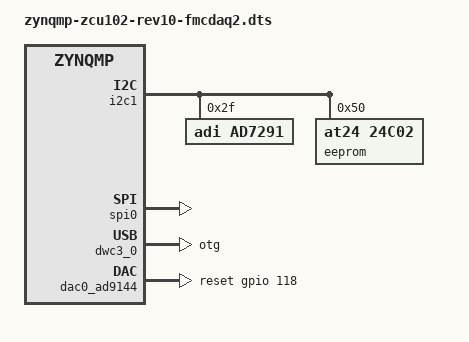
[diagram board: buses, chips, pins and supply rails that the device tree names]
// SPDX-License-Identifier: GPL-2.0
/*
 * Analog Devices AD-FMCDAQ2-EBZ
 * Link: https://wiki.analog.com/resources/eval/user-guides/ad-fmcdaq2-ebz
 *
 * hdl_project: <daq2/zcu102>
 * board_revision: <>
 *
 * Copyright 2016-2020 Analog Devices Inc.
 */

#include "zynqmp-zcu102-rev1.0.dts"
#include <dt-bindings/interrupt-controller/irq.h>
#include <dt-bindings/jesd204/adxcvr.h>

&i2c1 {
	i2c-mux@75 {
		i2c@0 {
			#address-cells = <1>;
			#size-cells = <0>;
			reg = <0>;
			/* HPC0_IIC */
			ad7291@2f {
				compatible = "adi,ad7291";
				reg = <0x2f>;
			};

			eeprom@50 {
				compatible = "at24,24c02";
				reg = <0x50>;
			};

		};
	};
};

/ {
	fpga_axi: fpga-axi@0 {
		interrupt-parent = <&gic>;
		compatible = "simple-bus";
		#address-cells = <0x1>;
		#size-cells = <0x1>;
		ranges = <0 0 0 0xffffffff>;

		rx_dma: dma@9c400000 {
			compatible = "adi,axi-dmac-1.00.a";
			reg = <0x9c400000 0x10000>;
			#dma-cells = <1>;
			#clock-cells = <0>;
			interrupts = <0 109 IRQ_TYPE_LEVEL_HIGH>;
			clocks = <&zynqmp_clk 71>;

			adi,channels {
				#size-cells = <0>;
				#address-cells = <1>;

				dma-channel@0 {
					reg = <0>;
					adi,source-bus-width = <64>;
					adi,source-bus-type = <2>;
					adi,destination-bus-width = <64>;
					adi,destination-bus-type = <0>;
				};
			};
		};

		tx_dma: dma@9c420000  {
			compatible = "adi,axi-dmac-1.00.a";
			reg = <0x9c420000 0x10000>;
			#dma-cells = <1>;
			#clock-cells = <0>;
			interrupts = <0 108 IRQ_TYPE_LEVEL_HIGH>;
			clocks = <&zynqmp_clk 71>;

			adi,channels {
				#size-cells = <0>;
				#address-cells = <1>;

				dma-channel@0 {
					reg = <0>;
					adi,source-bus-width = <128>;
					adi,source-bus-type = <0>;
					adi,destination-bus-width = <128>;
					adi,destination-bus-type = <2>;
				};
			};
		};

		axi_ad9144_core: axi-ad9144-hpc@84a04000{
			compatible = "adi,axi-ad9144-1.0";
			reg = <0x84a04000 0x10000>;
			dmas = <&tx_dma 0>;
			dma-names = "tx";
			spibus-connected = <&dac0_ad9144>;
			adi,axi-pl-fifo-enable;
		};

		axi_ad9144_jesd: axi-jesd204-tx@84a90000 {
			compatible = "adi,axi-jesd204-tx-1.0";
			reg = <0x84a90000 0x4000>;

			interrupts = <0 106 IRQ_TYPE_LEVEL_HIGH>;

			clocks = <&zynqmp_clk 71>, <&axi_ad9144_adxcvr 1>, <&axi_ad9144_adxcvr 0>;
			clock-names = "s_axi_aclk", "device_clk", "lane_clk";

			adi,octets-per-frame = <1>;
			adi,frames-per-multiframe = <32>;
			adi,converter-resolution = <16>;
			adi,bits-per-sample = <16>;
			adi,converters-per-device = <2>;

			#clock-cells = <0>;
			clock-output-names = "jesd_dac_lane_clk";
		};

		axi_ad9680_core: axi-ad9680-hpc@84a10000 {
			compatible = "adi,axi-ad9680-1.0";
			reg = <0x84a10000 0x10000>;
			dmas = <&rx_dma 0>;
			dma-names = "rx";
			spibus-connected = <&adc0_ad9680>;
		};

		axi_ad9680_jesd: axi-jesd204-rx@84aa0000 {
			compatible = "adi,axi-jesd204-rx-1.0";
			reg = <0x84aa0000 0x4000>;

			interrupts = <0 107 IRQ_TYPE_LEVEL_HIGH>;

			clocks = <&zynqmp_clk 71>, <&axi_ad9680_adxcvr 1>, <&axi_ad9680_adxcvr 0>;
			clock-names = "s_axi_aclk", "device_clk", "lane_clk";

			adi,octets-per-frame = <1>;
			adi,frames-per-multiframe = <32>;

			#clock-cells = <0>;
			clock-output-names = "jesd_adc_lane_clk";
		};

		axi_ad9680_adxcvr: axi-adxcvr-rx@84a50000{
			compatible = "adi,axi-adxcvr-1.0";
			reg = <0x84A50000 0x1000>;

			clocks = <&clk0_ad9523 4>;
			clock-names = "conv";

			#clock-cells = <1>;
			clock-output-names = "adc_gt_clk", "rx_out_clk";

			adi,sys-clk-select = <XCVR_CPLL>;
			adi,out-clk-select = <XCVR_REFCLK_DIV2>;
			adi,use-lpm-enable;
		};

		axi_ad9144_adxcvr: axi-adxcvr-tx@84a60000{
			compatible = "adi,axi-adxcvr-1.0";
			reg = <0x84A60000 0x1000>;

			clocks = <&clk0_ad9523 9>;
			clock-names = "conv";

			#clock-cells = <1>;
			clock-output-names = "dac_gt_clk", "tx_out_clk";

			adi,sys-clk-select = <XCVR_QPLL>;
			adi,out-clk-select = <XCVR_REFCLK_DIV2>;
			adi,use-lpm-enable;
		};

		axi_sysid_0: axi-sysid-0@85000000 {
			compatible = "adi,axi-sysid-1.00.a";
			reg = <0x85000000 0x10000>;
		};
	};
};


&spi0 {
	status = "okay";
};

&dwc3_0 {
	status = "okay";
	dr_mode = "otg";
};

#define fmc_spi spi0

#include "adi-daq2.dtsi"

&adc0_ad9680 {
	powerdown-gpios = <&gpio 120 0>; /* 42 + 78 */
	fastdetect-a-gpios = <&gpio 113 0>; /* 35 */
	fastdetect-b-gpios = <&gpio 114 0>; /* 36 */
};

&dac0_ad9144 {
	txen-gpios = <&gpio 119 0>; /* 41 */
	reset-gpios = <&gpio 118 0>; /* 40 */
	irq-gpios = <&gpio 112 0>; /* 34 */
};

&clk0_ad9523 {
	sync-gpios = <&gpio 116 0>; /* 38 */
	status0-gpios = <&gpio 110 0>; /* 32 */
	status1-gpios = <&gpio 111 0>; /* 33 */
};
